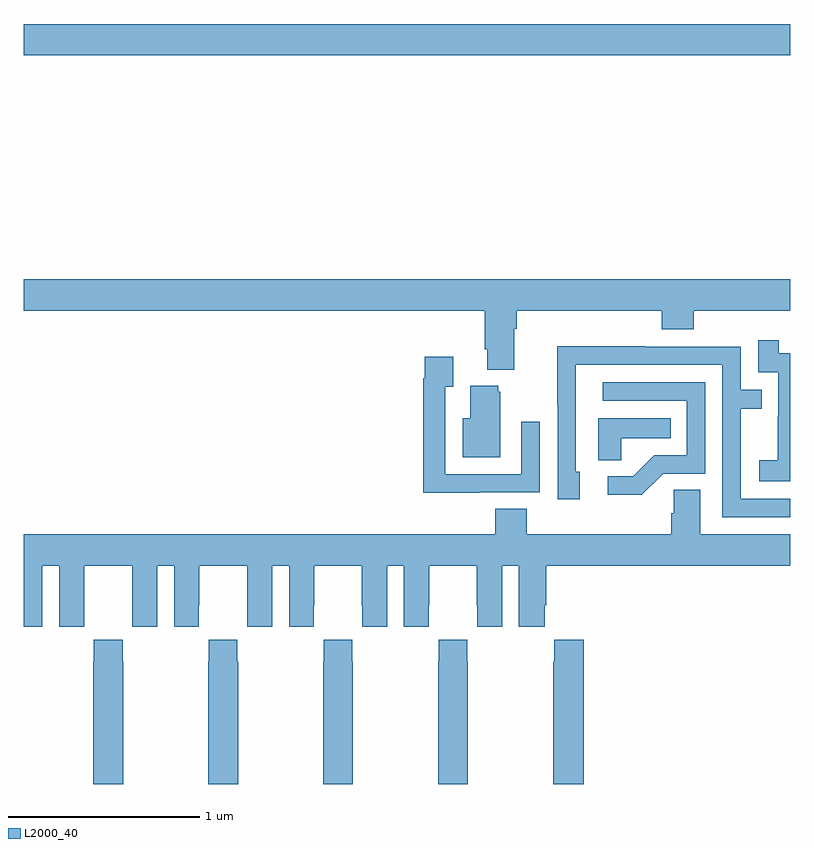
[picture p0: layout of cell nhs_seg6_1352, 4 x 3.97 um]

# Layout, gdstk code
import gdstk
lib = gdstk.Library(unit=1e-6, precision=1e-09)
def R(c, l, rs):  # rectangles x0, y0, x1, y1
    for r in rs: c.add(gdstk.rectangle(r[:2], r[2:], *l))
def P(c, l, *ps):  # polygons
    for p in ps: c.add(gdstk.Polygon(p, *l))
L2000_40 = (2000, 40)

nhs_seg6_1352 = lib.new_cell('nhs_seg6_1352')
R(nhs_seg6_1352, L2000_40, [(193,979.304,197,979.468)])
P(nhs_seg6_1352, L2000_40, [(195.559,977.876),(195.572,977.876),(195.572,977.972),(196.331,977.972),(196.331,977.873),(196.496,977.873),(196.496,977.972),(197,977.972),(197,978.136),(193,978.136),(193,977.972),(195.407,977.972),(195.407,977.77),(195.419,977.77),(195.419,977.663),(195.559,977.663)],
  [(197,977.748),(196.942,977.748),(196.942,977.818),(196.833,977.818),(196.833,977.649),(196.938,977.649),(196.938,977.42),(196.937,977.42),(196.937,977.191),(196.839,977.191),(196.839,977.081),(197,977.081)],
  [(197,976.989),(196.743,976.989),(196.743,977.458),(196.853,977.458),(196.853,977.559),(196.743,977.559),(196.743,977.784),(196.247,977.784),(196.247,977.786),(195.784,977.786),(195.784,977.479),(195.786,977.479),(195.786,976.986),(195.901,976.986),(195.901,977.13),(195.882,977.13),(195.882,977.688),(196.647,977.688),(196.647,976.893),(197,976.893)],
  [(195.377,977.022),(195.693,977.022),(195.693,977.392),(195.597,977.392),(195.597,977.118),(195.201,977.118),(195.201,977.575),(195.241,977.575),(195.241,977.731),(195.093,977.731),(195.093,977.618),(195.085,977.618),(195.085,977.021),(195.377,977.021)],
  [(196.338,977.121),(196.557,977.121),(196.557,977.598),(196.023,977.598),(196.023,977.502),(196.461,977.502),(196.461,977.217),(196.292,977.217),(196.181,977.106),(196.047,977.106),(196.047,977.009),(196.225,977.009)],
  [(195.487,977.547),(195.476,977.547),(195.476,977.578),(195.329,977.578),(195.329,977.41),(195.29,977.41),(195.29,977.207),(195.487,977.207)],
  [(196.119,977.306),(196.376,977.306),(196.376,977.41),(195.998,977.41),(195.998,977.191),(196.119,977.191)],
  [(193.096,976.64),(193.184,976.64),(193.184,976.32),(193.314,976.32),(193.314,976.432),(193.315,976.432),(193.315,976.64),(193.565,976.64),(193.565,976.432),(193.566,976.432),(193.566,976.32),(193.696,976.32),(193.696,976.64),(193.784,976.64),(193.784,976.32),(193.914,976.32),(193.914,976.432),(193.915,976.432),(193.915,976.64),(194.165,976.64),(194.165,976.432),(194.166,976.432),(194.166,976.32),(194.296,976.32),(194.296,976.64),(194.384,976.64),(194.384,976.32),(194.514,976.32),(194.514,976.432),(194.515,976.432),(194.515,976.64),(194.765,976.64),(194.765,976.432),(194.766,976.432),(194.766,976.32),(194.896,976.32),(194.896,976.64),(194.984,976.64),(194.984,976.32),(195.114,976.32),(195.114,976.432),(195.115,976.432),(195.115,976.64),(195.365,976.64),(195.365,976.432),(195.366,976.432),(195.366,976.32),(195.496,976.32),(195.496,976.64),(195.584,976.64),(195.584,976.32),(195.718,976.32),(195.718,976.432),(195.728,976.432),(195.728,976.64),(197,976.64),(197,976.804),(196.531,976.804),(196.531,977.036),(196.392,977.036),(196.392,976.913),(196.379,976.913),(196.379,976.804),(195.626,976.804),(195.626,976.937),(195.461,976.937),(195.461,976.804),(193,976.804),(193,976.32),(193.096,976.32)],
  [(194.118,976.139),(194.115,976.139),(194.115,976.252),(193.965,976.252),(193.965,976.139),(193.963,976.139),(193.963,975.5),(194.118,975.5)],
  [(193.518,976.139),(193.515,976.139),(193.515,976.252),(193.365,976.252),(193.365,976.139),(193.363,976.139),(193.363,975.5),(193.518,975.5)],
  [(194.718,976.139),(194.715,976.139),(194.715,976.252),(194.565,976.252),(194.565,976.139),(194.563,976.139),(194.563,975.5),(194.718,975.5)],
  [(195.318,976.139),(195.315,976.139),(195.315,976.252),(195.165,976.252),(195.165,976.139),(195.163,976.139),(195.163,975.5),(195.318,975.5)],
  [(195.923,976.252),(195.769,976.252),(195.769,976.139),(195.763,976.139),(195.763,975.5),(195.923,975.5)])

lib.write_gds('nhs_seg6_1352.gds')
